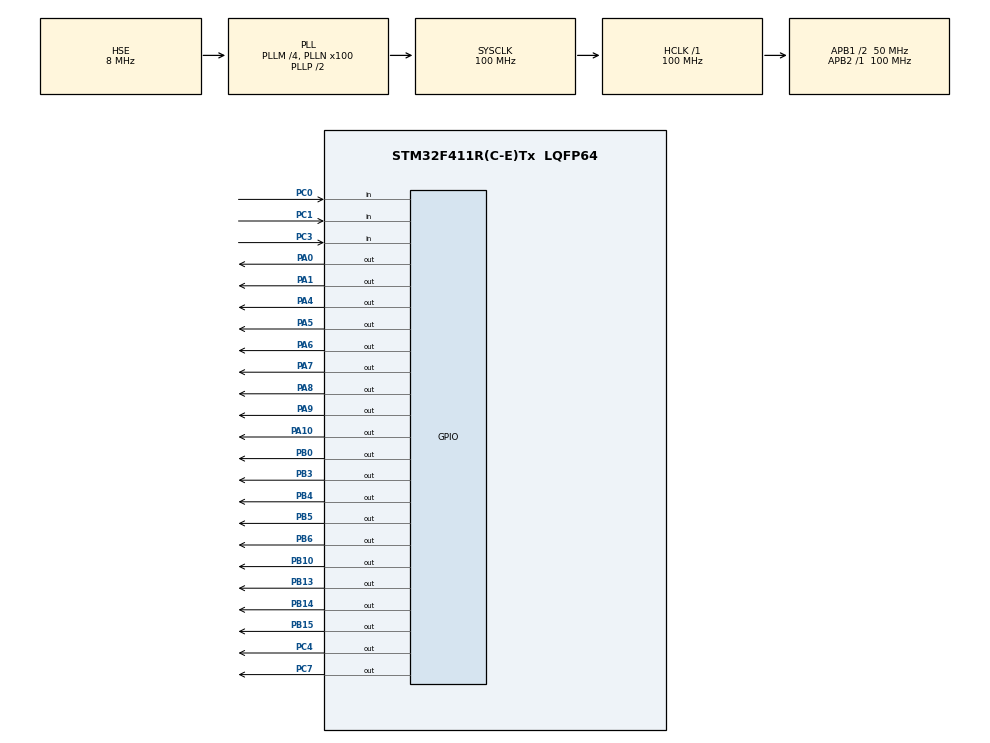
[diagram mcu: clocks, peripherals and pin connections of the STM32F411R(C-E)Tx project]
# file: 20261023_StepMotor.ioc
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Mcu.Family=STM32F4
Mcu.Name=STM32F411R(C-E)Tx
Mcu.Package=LQFP64
NVIC.PriorityGroup=NVIC_PRIORITYGROUP_4
NVIC.TIM1_BRK_TIM9_IRQn=true\:0\:0\:false\:false\:true\:true\:true\:true
PA0-WKUP.Signal=GPIO_Output
PA1.Signal=GPIO_Output
PA10.Signal=GPIO_Output
PA13.Mode=Serial_Wire
PA13.Signal=SYS_JTMS-SWDIO
PA14.Mode=Serial_Wire
PA14.Signal=SYS_JTCK-SWCLK
PA4.Signal=GPIO_Output
PA5.Signal=GPIO_Output
PA6.Signal=GPIO_Output
PA7.Signal=GPIO_Output
PA8.Signal=GPIO_Output
PA9.Signal=GPIO_Output
PB0.Signal=GPIO_Output
PB10.Signal=GPIO_Output
PB13.Signal=GPIO_Output
PB14.Signal=GPIO_Output
PB15.Signal=GPIO_Output
PB3.Signal=GPIO_Output
PB4.Signal=GPIO_Output
PB5.Signal=GPIO_Output
PB6.Signal=GPIO_Output
PC0.Signal=GPIO_Input
PC1.Signal=GPIO_Input
PC3.Signal=GPIO_Input
PC4.Signal=GPIO_Output
PC7.Signal=GPIO_Output
PH0\ -\ OSC_IN.Mode=HSE-External-Oscillator
PH0\ -\ OSC_IN.Signal=RCC_OSC_IN
PH1\ -\ OSC_OUT.Mode=HSE-External-Oscillator
PH1\ -\ OSC_OUT.Signal=RCC_OSC_OUT
ProjectManager.HeapSize=0x200
ProjectManager.StackSize=0x400
ProjectManager.TargetToolchain=STM32CubeIDE
RCC.48MHZClocksFreq_Value=50000000
RCC.AHBFreq_Value=100000000
RCC.APB1CLKDivider=RCC_HCLK_DIV2
RCC.APB1Freq_Value=50000000
RCC.APB1TimFreq_Value=100000000
RCC.APB2Freq_Value=100000000
RCC.APB2TimFreq_Value=100000000
RCC.CortexFreq_Value=100000000
RCC.HCLKFreq_Value=100000000
RCC.HSE_VALUE=8000000
RCC.HSI_VALUE=16000000
RCC.LSE_VALUE=32768
RCC.PLLM=4
RCC.PLLN=100
RCC.PLLSourceVirtual=RCC_PLLSOURCE_HSE
RCC.SYSCLKFreq_VALUE=100000000
RCC.SYSCLKSource=RCC_SYSCLKSOURCE_PLLCLK
RCC.VCOOutputFreq_Value=200000000
TIM9.AutoReloadPreload=TIM_AUTORELOAD_PRELOAD_ENABLE
TIM9.Period=1000-1
TIM9.Prescaler=100-1
VP_TIM9_VS_ClockSourceINT.Mode=Internal
board=custom

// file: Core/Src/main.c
/* USER CODE BEGIN Header */
/**
 ******************************************************************************
 * @file           : main.c
 * @brief          : Main program body
 ******************************************************************************
 * @attention
 *
 * Copyright (c) 2026 STMicroelectronics.
 * All rights reserved.
 *
 * This software is licensed under terms that can be found in the LICENSE file
 * in the root directory of this software component.
 * If no LICENSE file comes with this software, it is provided AS-IS.
 *
 ******************************************************************************
 */
/* USER CODE END Header */
#include "main.h"

/* USER CODE BEGIN Includes */
#include "driver/stepMotor/stepMotor.h"
#include "driver/button/button.h"
/* USER CODE END Includes */

TIM_HandleTypeDef htim9;

void SystemClock_Config(void);
static void MX_GPIO_Init(void);
static void MX_TIM9_Init(void);

/* USER CODE BEGIN 0 */
stepMotor_pin_t stepMotorPin = {
		.port = {GPIOA,GPIOA,GPIOA,GPIOB},
		.pin  = {GPIO_PIN_0,GPIO_PIN_1,GPIO_PIN_4,GPIO_PIN_0},
};

stepMotor_t motor = {
		.pin = &stepMotorPin,
		.stepCounter = 0
};

volatile uint8_t isrFlag = 0;

void elevatorMoving_setFlag(void)
{
	isrFlag = 1;
}

void elevatorMoving_clearFlag(void)
{
	isrFlag = 0;
}

void elevatorMoving_ISR(void)
{
	elevatorMoving_setFlag();
}

void elevatorMoving_task(void)
{
	if (isrFlag == 0){
		return;
	}
	elevatorMoving_clearFlag();
	StepMotor_stepPhase(&motor, STEP_MOTOR_DIR_CW);
}

void HAL_TIM_PeriodElapsedCallback(TIM_HandleTypeDef *htim)
{
	if (htim->Instance == TIM9)
	{
		elevatorMoving_ISR();
	}
}
/* USER CODE END 0 */

int main(void)
{

  /* MCU Configuration--------------------------------------------------------*/

  /* Reset of all peripherals, Initializes the Flash interface and the Systick. */
  HAL_Init();

  /* Configure the system clock */
  SystemClock_Config();

  /* Initialize all configured peripherals */
  MX_GPIO_Init();
  MX_TIM9_Init();
  /* USER CODE BEGIN 2 */
  button_t btn_up;
  button_t btn_down;

  button_init(&btn_up,GPIOC,GPIO_PIN_1);
  button_init(&btn_down,GPIOC,GPIO_PIN_3);

  HAL_TIM_Base_Start_IT(&htim9);
  /* USER CODE END 2 */

  /* Infinite loop */
  /* USER CODE BEGIN WHILE */
	while (1)
	{
		elevatorMoving_task();
		if(button_getState(&btn_up) == ACT_RELEASE) {
			__HAL_TIM_SET_AUTORELOAD(&htim9, 800 - 1);
		} else if(button_getState(&btn_down) == ACT_RELEASE) {
			__HAL_TIM_SET_AUTORELOAD(&htim9, 5000 - 1);
		}

//		for(int i = 0; i<4096; i++){
//			StepMotor_stepPhase(&motor_sec,STEP_MOTOR_DIR_CW);
//			HAL_Delay(2);
	//		HAL_GPIO_WritePin(GPIOA, GPIO_PIN_0, GPIO_PIN_SET);
	//		HAL_GPIO_WritePin(GPIOA, GPIO_PIN_1, GPIO_PIN_RESET);
	//		HAL_GPIO_WritePin(GPIOA, GPIO_PIN_4, GPIO_PIN_RESET);
	//		HAL_GPIO_WritePin(GPIOB, GPIO_PIN_0, GPIO_PIN_RESET);
	//		StepMotor_writePattern(&motor_sec, step_table[0]);
	//		HAL_Delay(1);

	//		HAL_GPIO_WritePin(GPIOA, GPIO_PIN_0, GPIO_PIN_SET);
	//		HAL_GPIO_WritePin(GPIOA, GPIO_PIN_1, GPIO_PIN_SET);
	//		HAL_GPIO_WritePin(GPIOA, GPIO_PIN_4, GPIO_PIN_RESET);
	//		HAL_GPIO_WritePin(GPIOB, GPIO_PIN_0, GPIO_PIN_RESET);
	//		StepMotor_writePattern(&motor_sec, step_table[1]);
	//		HAL_Delay(1);

	//		HAL_GPIO_WritePin(GPIOA, GPIO_PIN_0, GPIO_PIN_RESET);
	//		HAL_GPIO_WritePin(GPIOA, GPIO_PIN_1, GPIO_PIN_SET);
	//		HAL_GPIO_WritePin(GPIOA, GPIO_PIN_4, GPIO_PIN_RESET);
	//		HAL_GPIO_WritePin(GPIOB, GPIO_PIN_0, GPIO_PIN_RESET);
	//		StepMotor_writePattern(&motor_sec, step_table[2]);
	//		HAL_Delay(1);

	//		HAL_GPIO_WritePin(GPIOA, GPIO_PIN_0, GPIO_PIN_RESET);
	//		HAL_GPIO_WritePin(GPIOA, GPIO_PIN_1, GPIO_PIN_SET);
	//		HAL_GPIO_WritePin(GPIOA, GPIO_PIN_4, GPIO_PIN_SET);
	//		HAL_GPIO_WritePin(GPIOB, GPIO_PIN_0, GPIO_PIN_RESET);
	//		StepMotor_writePattern(&motor_sec, step_table[3]);
	//		HAL_Delay(1);

	//		HAL_GPIO_WritePin(GPIOA, GPIO_PIN_0, GPIO_PIN_RESET);
	//		HAL_GPIO_WritePin(GPIOA, GPIO_PIN_1, GPIO_PIN_RESET);
	//		HAL_GPIO_WritePin(GPIOA, GPIO_PIN_4, GPIO_PIN_SET);
	//		HAL_GPIO_WritePin(GPIOB, GPIO_PIN_0, GPIO_PIN_RESET);
	//		StepMotor_writePattern(&motor_sec, step_table[4]);
	//		HAL_Delay(1);

	//		HAL_GPIO_WritePin(GPIOA, GPIO_PIN_0, GPIO_PIN_RESET);
	//		HAL_GPIO_WritePin(GPIOA, GPIO_PIN_1, GPIO_PIN_RESET);
	//		HAL_GPIO_WritePin(GPIOA, GPIO_PIN_4, GPIO_PIN_SET);
	//		HAL_GPIO_WritePin(GPIOB, GPIO_PIN_0, GPIO_PIN_SET);
	//		StepMotor_writePattern(&motor_sec, step_table[5]);
	//		HAL_Delay(1);

	//		HAL_GPIO_WritePin(GPIOA, GPIO_PIN_0, GPIO_PIN_RESET);
	//		HAL_GPIO_WritePin(GPIOA, GPIO_PIN_1, GPIO_PIN_RESET);
	//		HAL_GPIO_WritePin(GPIOA, GPIO_PIN_4, GPIO_PIN_RESET);
	//		HAL_GPIO_WritePin(GPIOB, GPIO_PIN_0, GPIO_PIN_SET);
	//		StepMotor_writePattern(&motor_sec, step_table[6]);
	//		HAL_Delay(1);

	//		HAL_GPIO_WritePin(GPIOA, GPIO_PIN_0, GPIO_PIN_SET);
	//		HAL_GPIO_WritePin(GPIOA, GPIO_PIN_1, GPIO_PIN_RESET);
	//		HAL_GPIO_WritePin(GPIOA, GPIO_PIN_4, GPIO_PIN_RESET);
	//		HAL_GPIO_WritePin(GPIOB, GPIO_PIN_0, GPIO_PIN_SET);
	//		StepMotor_writePattern(&motor_sec, step_table[7]);
	//		HAL_Delay(1);
		//}
//		StepMotor_release(&motor_sec);
//		HAL_Delay(1000);
    /* USER CODE END WHILE */

	}
}

void SystemClock_Config(void)
{
  RCC_OscInitTypeDef RCC_OscInitStruct = {0};
  RCC_ClkInitTypeDef RCC_ClkInitStruct = {0};

  /** Configure the main internal regulator output voltage
  */
  __HAL_RCC_PWR_CLK_ENABLE();
  __HAL_PWR_VOLTAGESCALING_CONFIG(PWR_REGULATOR_VOLTAGE_SCALE1);

  /** Initializes the RCC Oscillators according to the specified parameters
  * in the RCC_OscInitTypeDef structure.
  */
  RCC_OscInitStruct.OscillatorType = RCC_OSCILLATORTYPE_HSE;
  RCC_OscInitStruct.HSEState = RCC_HSE_ON;
  RCC_OscInitStruct.PLL.PLLState = RCC_PLL_ON;
  RCC_OscInitStruct.PLL.PLLSource = RCC_PLLSOURCE_HSE;
  RCC_OscInitStruct.PLL.PLLM = 4;
  RCC_OscInitStruct.PLL.PLLN = 100;
  RCC_OscInitStruct.PLL.PLLP = RCC_PLLP_DIV2;
  RCC_OscInitStruct.PLL.PLLQ = 4;
  if (HAL_RCC_OscConfig(&RCC_OscInitStruct) != HAL_OK)
  {
    Error_Handler();
  }

  /** Initializes the CPU, AHB and APB buses clocks
  */
  RCC_ClkInitStruct.ClockType = RCC_CLOCKTYPE_HCLK|RCC_CLOCKTYPE_SYSCLK
                              |RCC_CLOCKTYPE_PCLK1|RCC_CLOCKTYPE_PCLK2;
  RCC_ClkInitStruct.SYSCLKSource = RCC_SYSCLKSOURCE_PLLCLK;
  RCC_ClkInitStruct.AHBCLKDivider = RCC_SYSCLK_DIV1;
  RCC_ClkInitStruct.APB1CLKDivider = RCC_HCLK_DIV2;
  RCC_ClkInitStruct.APB2CLKDivider = RCC_HCLK_DIV1;

  if (HAL_RCC_ClockConfig(&RCC_ClkInitStruct, FLASH_LATENCY_3) != HAL_OK)
  {
    Error_Handler();
  }
}

static void MX_TIM9_Init(void)
{

  TIM_ClockConfigTypeDef sClockSourceConfig = {0};

  htim9.Instance = TIM9;
  htim9.Init.Prescaler = 100-1;
  htim9.Init.CounterMode = TIM_COUNTERMODE_UP;
  htim9.Init.Period = 1000-1;
  htim9.Init.ClockDivision = TIM_CLOCKDIVISION_DIV1;
  htim9.Init.AutoReloadPreload = TIM_AUTORELOAD_PRELOAD_ENABLE;
  if (HAL_TIM_Base_Init(&htim9) != HAL_OK)
  {
    Error_Handler();
  }
  sClockSourceConfig.ClockSource = TIM_CLOCKSOURCE_INTERNAL;
  if (HAL_TIM_ConfigClockSource(&htim9, &sClockSourceConfig) != HAL_OK)
  {
    Error_Handler();
  }

}

static void MX_GPIO_Init(void)
{
  GPIO_InitTypeDef GPIO_InitStruct = {0};

  /* GPIO Ports Clock Enable */
  __HAL_RCC_GPIOH_CLK_ENABLE();
  __HAL_RCC_GPIOC_CLK_ENABLE();
  __HAL_RCC_GPIOA_CLK_ENABLE();
  __HAL_RCC_GPIOB_CLK_ENABLE();

  /*Configure GPIO pin Output Level */
  HAL_GPIO_WritePin(GPIOA, GPIO_PIN_0|GPIO_PIN_1|GPIO_PIN_4|GPIO_PIN_5
                          |GPIO_PIN_6|GPIO_PIN_7|GPIO_PIN_8|GPIO_PIN_9
                          |GPIO_PIN_10, GPIO_PIN_RESET);

  /*Configure GPIO pin Output Level */
  HAL_GPIO_WritePin(GPIOC, GPIO_PIN_4|GPIO_PIN_7, GPIO_PIN_RESET);

  /*Configure GPIO pin Output Level */
  HAL_GPIO_WritePin(GPIOB, GPIO_PIN_0|GPIO_PIN_10|GPIO_PIN_13|GPIO_PIN_14
                          |GPIO_PIN_15|GPIO_PIN_3|GPIO_PIN_4|GPIO_PIN_5
                          |GPIO_PIN_6, GPIO_PIN_RESET);

  /*Configure GPIO pins : PC0 PC1 PC3 */
  GPIO_InitStruct.Pin = GPIO_PIN_0|GPIO_PIN_1|GPIO_PIN_3;
  GPIO_InitStruct.Mode = GPIO_MODE_INPUT;
  GPIO_InitStruct.Pull = GPIO_NOPULL;
  HAL_GPIO_Init(GPIOC, &GPIO_InitStruct);

  /*Configure GPIO pins : PA0 PA1 PA4 PA5
                           PA6 PA7 PA8 PA9
                           PA10 */
  GPIO_InitStruct.Pin = GPIO_PIN_0|GPIO_PIN_1|GPIO_PIN_4|GPIO_PIN_5
                          |GPIO_PIN_6|GPIO_PIN_7|GPIO_PIN_8|GPIO_PIN_9
                          |GPIO_PIN_10;
  GPIO_InitStruct.Mode = GPIO_MODE_OUTPUT_PP;
  GPIO_InitStruct.Pull = GPIO_NOPULL;
  GPIO_InitStruct.Speed = GPIO_SPEED_FREQ_LOW;
  HAL_GPIO_Init(GPIOA, &GPIO_InitStruct);

  /*Configure GPIO pins : PC4 PC7 */
  GPIO_InitStruct.Pin = GPIO_PIN_4|GPIO_PIN_7;
  GPIO_InitStruct.Mode = GPIO_MODE_OUTPUT_PP;
  GPIO_InitStruct.Pull = GPIO_NOPULL;
  GPIO_InitStruct.Speed = GPIO_SPEED_FREQ_LOW;
  HAL_GPIO_Init(GPIOC, &GPIO_InitStruct);

  /*Configure GPIO pins : PB0 PB10 PB13 PB14
                           PB15 PB3 PB4 PB5
                           PB6 */
  GPIO_InitStruct.Pin = GPIO_PIN_0|GPIO_PIN_10|GPIO_PIN_13|GPIO_PIN_14
                          |GPIO_PIN_15|GPIO_PIN_3|GPIO_PIN_4|GPIO_PIN_5
                          |GPIO_PIN_6;
  GPIO_InitStruct.Mode = GPIO_MODE_OUTPUT_PP;
  GPIO_InitStruct.Pull = GPIO_NOPULL;
  GPIO_InitStruct.Speed = GPIO_SPEED_FREQ_LOW;
  HAL_GPIO_Init(GPIOB, &GPIO_InitStruct);

}

void Error_Handler(void)
{
	__disable_irq();
	while (1)
	{
	}
}
